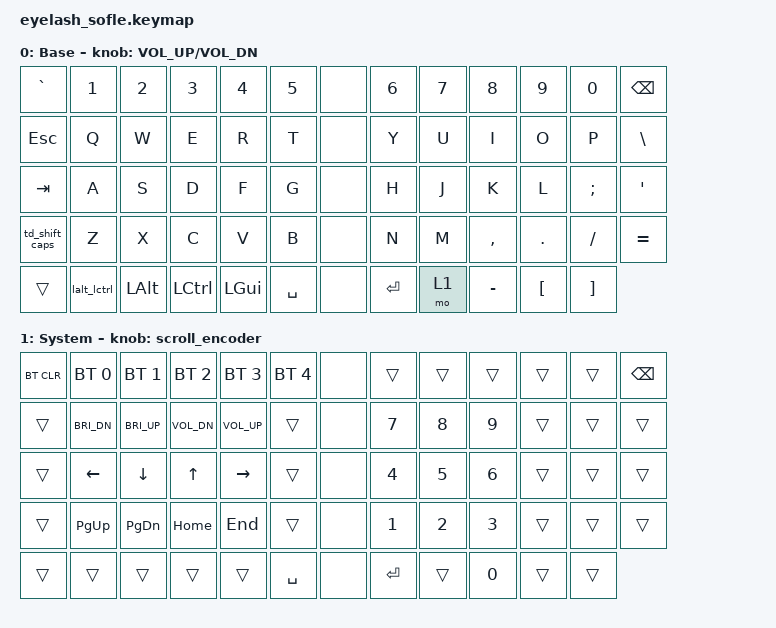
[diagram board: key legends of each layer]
#define ZMK_POINTING_DEFAULT_MOVE_VAL 1200  // 600
#define ZMK_POINTING_DEFAULT_SCRL_VAL 25   // 10

#include <input/processors.dtsi>
#include <zephyr/dt-bindings/input/input-event-codes.h>
#include <behaviors.dtsi>
#include <dt-bindings/zmk/bt.h>
#include <dt-bindings/zmk/keys.h>
#include <dt-bindings/zmk/outputs.h>
#include <dt-bindings/zmk/pointing.h>
#include <dt-bindings/zmk/rgb.h>

&mmv_input_listener { input-processors = <&zip_xy_scaler 2 1>; };

&msc_input_listener { input-processors = <&zip_scroll_scaler 2 1>; };

&msc {
    acceleration-exponent = <1>;      // 0
    time-to-max-speed-ms = <100>;       // 300
    delay-ms = <0>;                   // 0
};

&mmv {
    time-to-max-speed-ms = <500>;
    acceleration-exponent = <1>;
    trigger-period-ms = <16>;
};

&soft_off { hold-time-ms = <2000>; };

/ {
    scroll_encoder: scroll_encoder {
        compatible = "zmk,behavior-sensor-rotate";
        #sensor-binding-cells = <0>;
        bindings = <&msc SCRL_DOWN>, <&msc SCRL_UP>;

        tap-ms = <100>;
    };

    behaviors {
        td_shift_caps: tap_dance_shift_caps {
            compatible = "zmk,behavior-tap-dance";
            #binding-cells = <0>;
            tapping-term-ms = <200>;
            bindings = <&kp LSHFT>, <&kp CAPS>;
        };
    };

    combos {
        compatible = "zmk,combos";

        softoff {
            bindings = <&soft_off>;
            key-positions = <14 28 40>;
        };
    };

    macros {
        lalt_lctrl: lalt_lctrl {
            compatible = "zmk,behavior-macro";
            #binding-cells = <0>;
            bindings = <&macro_press &kp LALT>
                     , <&macro_press &kp LCTRL>
                     , <&macro_pause_for_release>
                     , <&macro_release &kp LCTRL>
                     , <&macro_release &kp LALT>;
        };
    };

    keymap {
        compatible = "zmk,keymap";

        layer0 {
            bindings = <
&kp GRAVE   &kp N1          &kp N2          &kp N3          &kp N4          &kp N5          &none          &kp N6          &kp N7          &kp N8          &kp N9          &kp N0          &kp BSPC
&kp ESC     &kp Q           &kp W           &kp E           &kp R           &kp T           &none          &kp Y           &kp U           &kp I           &kp O           &kp P           &kp BSLH
&kp TAB     &kp A           &kp S           &kp D           &kp F           &kp G           &none          &kp H           &kp J           &kp K           &kp L           &kp SEMI        &kp SQT
&td_shift_caps &kp Z           &kp X           &kp C           &kp V           &kp B           &none          &kp N           &kp M           &kp COMMA       &kp DOT         &kp FSLH        &kp EQUAL
&trans      &lalt_lctrl          &kp LALT        &kp LCTRL       &kp LGUI        &kp SPACE       &none          &kp ENTER       &mo 1           &kp MINUS       &kp LBKT        &kp RBKT
            >;

            sensor-bindings = <&inc_dec_kp C_VOLUME_UP C_VOL_DN>;
            display-name = "Base";
        };

	        layer_1 {
            bindings = <
&bt BT_CLR  &bt BT_SEL 0    &bt BT_SEL 1    &bt BT_SEL 2    &bt BT_SEL 3    &bt BT_SEL 4    &none          &trans          &trans          &trans          &trans          &trans          &kp BSPC
&trans      &kp C_BRI_DN    &kp C_BRI_UP    &kp C_VOL_DN    &kp C_VOL_UP    &trans          &none          &kp N7          &kp N8          &kp N9          &trans          &trans          &trans
&trans      &kp LEFT        &kp DOWN        &kp UP          &kp RIGHT       &trans          &none          &kp N4          &kp N5          &kp N6          &trans          &trans          &trans
&trans      &kp PG_UP       &kp PG_DN       &kp HOME        &kp END         &trans          &none          &kp N1          &kp N2          &kp N3          &trans          &trans          &trans
&trans      &trans          &trans          &trans          &trans          &kp SPACE       &none          &kp ENTER       &trans          &kp N0          &trans          &trans
            >;

            display-name = "System";
            sensor-bindings = <&scroll_encoder>;
        };
    };
};
